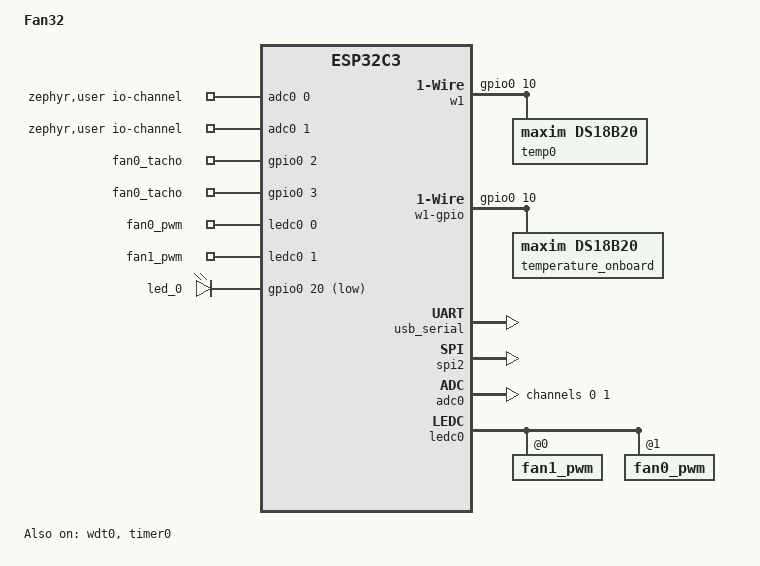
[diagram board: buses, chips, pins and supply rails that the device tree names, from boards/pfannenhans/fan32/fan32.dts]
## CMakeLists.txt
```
cmake_minimum_required(VERSION 3.20.0)
find_package(Zephyr REQUIRED HINTS $ENV{ZEPHYR_BASE})

project(temp_meas)

# Special Zephyr library, which contains the application code
target_sources(app PRIVATE
    src/main.c
)

target_include_directories(app PRIVATE include)
```

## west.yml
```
manifest:
  version: "1.2"
  self:
    path: app  # Put project in folder app when cloning via west

  remotes:
    - name: zephyr
      url-base: https://github.com/zephyrproject-rtos/

  projects:
    - name: zephyr
      description: Zephyr base repository
      remote: zephyr
      repo-path: zephyr
      revision: v4.2.0
      import:
        path-prefix: deps
        name-allowlist:
            - hal_espressif
            - mcuboot
            - picolibc
```

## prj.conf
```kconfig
CONFIG_SENSOR=y
CONFIG_PWM=y
CONFIG_W1=y
CONFIG_DS18B20=y
CONFIG_ADC=y

CONFIG_LOG=y
CONFIG_LOG_MODE_DEFERRED=y
CONFIG_LOG_SPEED=y
CONFIG_LOG_BACKEND_UART=y
```

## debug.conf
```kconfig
CONFIG_DEBUG_OPTIMIZATIONS=y
```

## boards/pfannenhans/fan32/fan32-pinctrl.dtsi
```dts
#include <zephyr/dt-bindings/pinctrl/esp-pinctrl-common.h>
#include <dt-bindings/pinctrl/esp32c3-pinctrl.h>
#include <zephyr/dt-bindings/pinctrl/esp32c3-gpio-sigmap.h>

&pinctrl {
	
	uart0_default: uart0_default {
		group1 {
			pinmux = <UART0_TX_GPIO21>;
			output-high;
		};
		group2 {
			pinmux = <UART0_RX_GPIO20>;
			bias-pull-up;
		};
	};
	
	spim2_default: spim2_default {
		group1 {
			pinmux = <SPIM2_MISO_GPIO2>,
			<SPIM2_SCLK_GPIO6>,
			<SPIM2_CSEL_GPIO10>;
		};
		group2 {
			pinmux = <SPIM2_MOSI_GPIO7>;
			output-low;
		};
	};
	ledc0_default: ledc0_default {
		group1 {
			pinmux = <LEDC_CH0_GPIO8>,// FAN1_PWM
			<LEDC_CH1_GPIO9>;// FAN0_PWM
			output-enable;
		};
	};
};
```

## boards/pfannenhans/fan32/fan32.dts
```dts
/dts-v1/;

#include <espressif/esp32c3/esp32c3_mini_n4.dtsi>
#include <zephyr/dt-bindings/input/input-event-codes.h>
#include <espressif/partitions_0x0_default.dtsi>
#include <zephyr/dt-bindings/pwm/pwm.h>

#include "fan32-pinctrl.dtsi"

/ {
	model = "Fan32";
	compatible = "espressif,esp32c3";
	
	chosen {
		zephyr,sram = &sram1;
		zephyr,console = &usb_serial;
		zephyr,shell-uart = &usb_serial;
		zephyr,flash = &flash0;
		zephyr,code-partition = &slot0_partition;
	};
	
	zephyr,user {
		io-channels = <&adc0 0>, <&adc0 1>;
	};
	
	aliases {
		watchdog0 = &wdt0;
	};
	
	w1: w1 {
		compatible = "zephyr,w1-gpio";
		gpios = <&gpio0 10 (GPIO_ACTIVE_HIGH | GPIO_OPEN_DRAIN)>;
		temp0: ds18b20 {
			compatible = "maxim,ds18b20";
			family-code = <0x28>;
			resolution = <12>;
			status = "okay";
		};
	};
	
	buttons {
		compatible = "gpio-keys";
		fan0_tacho: fan0_tacho {
			gpios = <&gpio0 2 0>;
			label = "fan0_tacho";
		};
		fan1_tacho: fan1_tacho {
			gpios = <&gpio0 3 0>;
			label = "fan0_tacho";
		};
	};
	
	pwmfans {
		compatible = "pwm-leds";
		// Channel refers to order of definiton in pwm instance
		fan0_pwm: fan0_pwm {
			label = "fan0_pwm";
			pwms = <&ledc0 0 PWM_USEC(40) PWM_POLARITY_INVERTED>;
		};
		fan1_pwm: fan1_pwm {
			label = "fan1_pwm";
			pwms = <&ledc0 1 PWM_USEC(40) PWM_POLARITY_INVERTED>;
		};
	};
	
	w1-gpio {
		status = "okay";
		compatible = "zephyr,w1-gpio";
		gpios = <&gpio0 10 (GPIO_ACTIVE_HIGH | GPIO_OPEN_DRAIN)>;
		temperature_onboard: ds18b20 {
			status = "okay";
			compatible = "maxim,ds18b20";
			resolution = <12>;
		};
	};
	
	leds {
		compatible = "gpio-leds";
		led_0: led_0 {
			gpios = <&gpio0 20 GPIO_ACTIVE_LOW>;
		};
	};
};

&uart0 {
	status = "disabled";
	current-speed = <115200>;
	pinctrl-0 = <&uart0_default>;
	pinctrl-names = "default";
};

&usb_serial {
	status = "okay";
};

&spi2 {
	#address-cells = <1>;
	#size-cells = <0>;
	status = "okay";
	pinctrl-0 = <&spim2_default>;
	pinctrl-names = "default";
};

&gpio0 {
	status = "okay";
};

&wdt0 {
	status = "okay";
};

&timer0 {
	status = "okay";
};

&adc0 {
	status = "okay";
	#address-cells = <1>;
	#size-cells = <0>;
	poti0: channel@0 {
		reg = <0>;
		zephyr,gain = "ADC_GAIN_1_4";
		zephyr,reference = "ADC_REF_INTERNAL";
		zephyr,acquisition-time = <ADC_ACQ_TIME_DEFAULT>;
		zephyr,resolution = <12>;
	};
	poti1: channel@1 {
		reg = <1>;
		zephyr,gain = "ADC_GAIN_1_4";
		zephyr,reference = "ADC_REF_INTERNAL";
		zephyr,acquisition-time = <ADC_ACQ_TIME_DEFAULT>;
		zephyr,resolution = <12>;
	};
};

&ledc0 {
	status = "okay";
	pinctrl-0 = <&ledc0_default>;
	pinctrl-names = "default";
	#address-cells = <1>;
	#size-cells = <0>;
	fan1_pwm@0 {
		reg = <0x0>;
		timer = <0>;
		inverted;
	};
	fan0_pwm@1 {
		reg = <0x1>;
		timer = <0>;
		inverted;
	};
};
```

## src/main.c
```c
#include <zephyr/devicetree.h>
#include <zephyr/drivers/gpio.h>
#include <zephyr/drivers/pwm.h>
#include <zephyr/kernel.h>
#include <zephyr/logging/log.h>
#include <zephyr/drivers/adc.h>
#include <zephyr/drivers/sensor.h>

#define FAN0_MAX_RPM 1800
#define FAN0_MIN_RPM 0
#define FAN1_MAX_RPM 4000
#define FAN1_MIN_RPM 0

#define NUM_FANS (sizeof(fan_channels) / sizeof(fan_control))
#define FAN_TACHO_INT_PER_ROTATION 2
#define MS_TO_M (60 * 1000)
#define FAN_NO_SPIN_TIME (1 * 1000)
#define FAN_POTI_MAX_VOLTAGE 3000  // [mV]

#define FAN_CONTROL_CHANNEL(CHANNEL_NUMBER) \
    { \
        .fan_tacho = GPIO_DT_SPEC_GET(DT_NODELABEL(fan##CHANNEL_NUMBER##_tacho), gpios), \
        .fan_pwm = PWM_DT_SPEC_GET(DT_NODELABEL(fan##CHANNEL_NUMBER##_pwm)), \
        .fan_cb_data = {0}, \
        .fan_poti = ADC_DT_SPEC_GET_BY_IDX(DT_PATH(zephyr_user), CHANNEL_NUMBER), \
        .rpm_max = FAN##CHANNEL_NUMBER##_MAX_RPM, \
        .rpm_min = FAN##CHANNEL_NUMBER##_MIN_RPM, \
        .rpm_measured = 0, \
        .rpm_target = 0, \
        .last_int = 0}

typedef struct {
    struct gpio_dt_spec fan_tacho;
    const struct pwm_dt_spec fan_pwm;
    struct gpio_callback fan_cb_data;
    const struct adc_dt_spec fan_poti;
    const uint16_t rpm_max;
    const uint16_t rpm_min;
    uint16_t rpm_measured;
    uint16_t rpm_target;
    uint32_t last_int;
} fan_control;

static fan_control fan_channels[] = {
    FAN_CONTROL_CHANNEL(0),
    FAN_CONTROL_CHANNEL(1)};
// static const struct pwm_dt_spec led = PWM_DT_SPEC_GET(DT_NODELABEL(pwm_led));
static const struct device* const temp_onboard = DEVICE_DT_GET(DT_NODELABEL(temperature_onboard));
static struct gpio_dt_spec led = GPIO_DT_SPEC_GET(DT_NODELABEL(led_0), gpios);

LOG_MODULE_REGISTER(main, LOG_LEVEL_INF);

static void tacho_callback(const struct device* dev, struct gpio_callback* cb, uint32_t pins);
static bool tacho_init(void);
static bool temp_init(void);
static bool pwm_init(void);
static bool pwm_update(void);
static void check_potis(void);
static void check_no_spin(void);
static uint16_t temp_get(void);

int main(void) {
    gpio_pin_configure_dt(&led, GPIO_OUTPUT_INACTIVE);
    tacho_init();
    pwm_init();
    temp_init();
    while (true) {
        gpio_pin_toggle_dt(&led);
        check_no_spin();
        pwm_update();
        temp_get();
        for (size_t i = 0; i < NUM_FANS; i++) {
            LOG_INF("Fan%u speed: %urpm", i, fan_channels[i].rpm_measured);
        }
        k_msleep(1000);
    }
    return 0;
}

void tacho_callback(__unused const struct device* dev, __unused struct gpio_callback* cb, uint32_t pins) {
    // Unfortunately there is no frequency-counter hardware on the esp32-c3 (in contrast to the og esp32), so using interrupts instead
    for (size_t i = 0; i < NUM_FANS; i++) {
        if (BIT(fan_channels[i].fan_tacho.pin) == pins) {
            uint32_t current_tick = k_cyc_to_ms_near32(k_cycle_get_32());
            fan_channels[i].rpm_measured = (MS_TO_M / FAN_TACHO_INT_PER_ROTATION) / (current_tick - fan_channels[i].last_int);
            fan_channels[i].last_int = current_tick;
            return;
        }
    }
}

bool tacho_init(void) {
    LOG_INF("Initializing fan tacho ISRs...");
    gpio_is_ready_dt(&fan_channels[0].fan_tacho);
    gpio_pin_configure_dt(&fan_channels[0].fan_tacho, GPIO_INPUT);
    gpio_pin_interrupt_configure_dt(&fan_channels[0].fan_tacho, GPIO_INT_EDGE_TO_ACTIVE);
    gpio_init_callback(&fan_channels[0].fan_cb_data, tacho_callback, BIT(fan_channels[0].fan_tacho.pin));
    gpio_add_callback(fan_channels[0].fan_tacho.port, &fan_channels[0].fan_cb_data);
    gpio_is_ready_dt(&fan_channels[1].fan_tacho);
    gpio_pin_configure_dt(&fan_channels[1].fan_tacho, GPIO_INPUT);
    gpio_pin_interrupt_configure_dt(&fan_channels[1].fan_tacho, GPIO_INT_EDGE_TO_ACTIVE);
    gpio_init_callback(&fan_channels[1].fan_cb_data, tacho_callback, BIT(fan_channels[1].fan_tacho.pin));
    gpio_add_callback(fan_channels[1].fan_tacho.port, &fan_channels[1].fan_cb_data);
    return true;
}

bool temp_init(void) {
    LOG_INF("Initializing temperature sensors...");
    if (!device_is_ready(temp_onboard)) {
        LOG_INF("Could not initialize onboard temperature sensor!");
        return false;
    }
    return true;
}

uint16_t temp_get(void) {
    struct sensor_value temp;
    int res = sensor_sample_fetch(temp_onboard);
    if (res != 0) {
        LOG_WRN("sample_fetch() failed: %d", res);
        return res;
    }

    res = sensor_channel_get(temp_onboard, SENSOR_CHAN_AMBIENT_TEMP, &temp);
    if (res != 0) {
        LOG_WRN("channel_get() failed: %d", res);
        return res;
    }

    LOG_INF("Temp: %d.%03ddegC", temp.val1, temp.val2);
    return (int16_t)(temp.val1 + temp.val2 / 100000);
}

bool pwm_init(void) {
    for (size_t i = 0; i < NUM_FANS; i++) {
        if (!pwm_is_ready_dt(&fan_channels[i].fan_pwm)) {
            LOG_ERR("Could not initialize FAN%u PWM!", i);
            return false;
        }
    }
    return pwm_update();
}

bool pwm_update(void) {
    check_potis();
    for (size_t i = 0; i < NUM_FANS; i++) {
        uint32_t pwm_pulse_length = (fan_channels[i].fan_pwm.period * fan_channels[i].rpm_target) / fan_channels[i].rpm_max;
        pwm_set_pulse_dt(&fan_channels[i].fan_pwm, pwm_pulse_length);
        LOG_DBG("Set Fan%u PWM pulse length to: %uns", i, pwm_pulse_length);
    }
    return true;
}

void check_potis(void) {
    uint16_t adc_readings[NUM_FANS] = {0};
    const struct adc_sequence_options options = {
        .callback = NULL,
        .extra_samplings = 0,
        .interval_us = 0,
        .user_data = NULL,
    };
    struct adc_sequence sequence = {
        .buffer = &adc_readings[0],
        /* buffer size in bytes, not number of samples */
        .buffer_size = sizeof(adc_readings[0]),
        .resolution = 12,
        .options = &options,
    };
    for (size_t i = 0; i < NUM_FANS; i++) {
        sequence.channels = BIT(fan_channels[i].fan_poti.channel_id);
        sequence.buffer = &adc_readings[i];
        adc_channel_setup_dt(&fan_channels[i].fan_poti);
        adc_read_dt(&fan_channels[0].fan_poti, &sequence);
    }
    for (size_t i = 0; i < NUM_FANS; i++) {
        int32_t tmp = adc_readings[i];
        adc_raw_to_millivolts_dt(&fan_channels[i].fan_poti, &tmp);
        LOG_DBG("Read Poti%u: %imV", i, tmp);
        fan_channels[i].rpm_target = (((uint32_t)fan_channels[i].rpm_max) * tmp) / FAN_POTI_MAX_VOLTAGE;
        if (fan_channels[i].rpm_target < fan_channels[i].rpm_min) {
            fan_channels[i].rpm_target = fan_channels[i].rpm_min;
        }
        LOG_DBG("Set Fan%u target RPM to: %u", i, fan_channels[i].rpm_target);
    }
}

void check_no_spin(void) {
    for (size_t i = 0; i < NUM_FANS; i++) {
        if (fan_channels[i].rpm_measured != 0) {
            uint32_t no_int_time = k_cyc_to_ms_near32(k_cycle_get_32()) - fan_channels[i].last_int;
            if (no_int_time > FAN_NO_SPIN_TIME) {
                LOG_INF("Fan%u: Stopped spinning!", i);
                fan_channels[i].rpm_measured = 0;
            }
        }
    }
}
```
